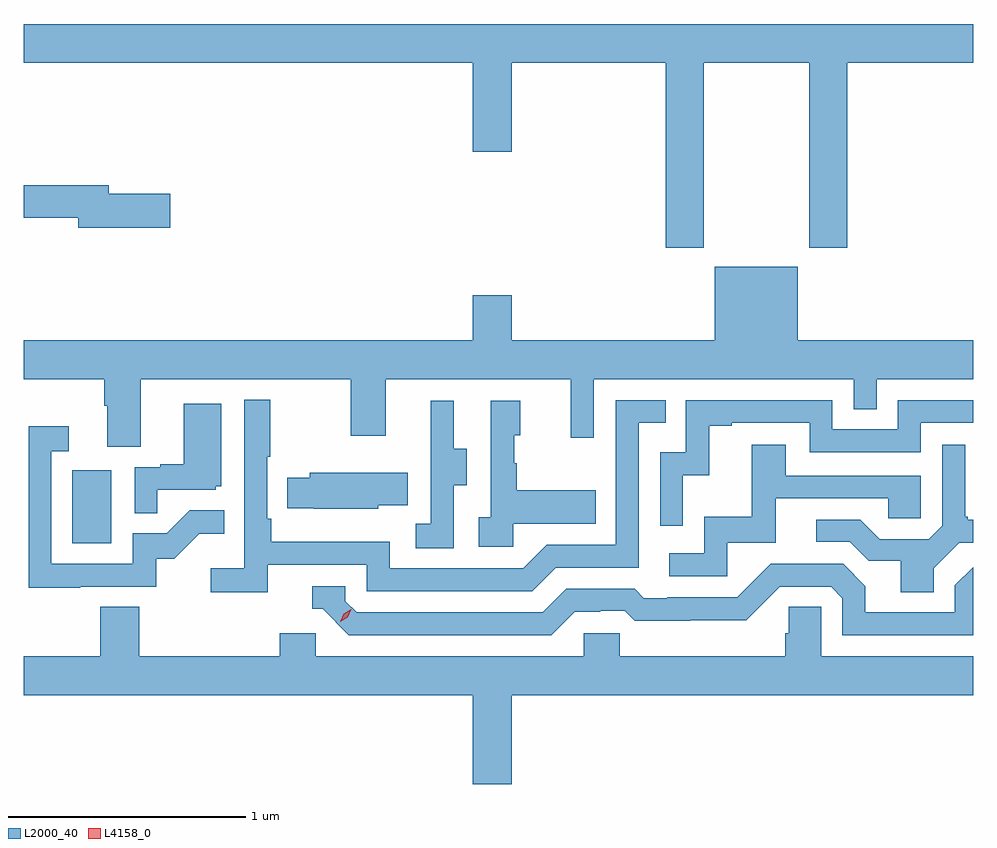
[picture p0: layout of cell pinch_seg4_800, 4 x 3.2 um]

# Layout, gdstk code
import gdstk
lib = gdstk.Library(unit=1e-6, precision=1e-09)
def R(c, l, rs):  # rectangles x0, y0, x1, y1
    for r in rs: c.add(gdstk.rectangle(r[:2], r[2:], *l))
def P(c, l, *ps):  # polygons
    for p in ps: c.add(gdstk.Polygon(p, *l))
L2000_40 = (2000, 40)
L4158_0 = (4158, 0)

pinch_seg4_800 = lib.new_cell('pinch_seg4_800')
R(pinch_seg4_800, L2000_40, [(798.686,808.116,798.85,808.423)])
P(pinch_seg4_800, L2000_40, [(798.481,810.14),(800.372,810.14),(800.372,809.766),(800.536,809.766),(800.536,810.14),(801.185,810.14),(801.185,809.361),(801.345,809.361),(801.345,810.14),(801.79,810.14),(801.79,809.361),(801.95,809.361),(801.95,810.14),(802.481,810.14),(802.481,810.304),(798.481,810.304)],
  [(799.099,809.588),(798.838,809.588),(798.838,809.624),(798.481,809.624),(798.481,809.488),(798.71,809.488),(798.71,809.446),(799.099,809.446)],
  [(798.973,808.808),(799.858,808.808),(799.858,808.569),(800.005,808.569),(800.005,808.808),(800.786,808.808),(800.786,808.56),(800.883,808.56),(800.883,808.808),(801.978,808.808),(801.978,808.681),(802.074,808.681),(802.074,808.808),(802.481,808.808),(802.481,808.972),(801.742,808.972),(801.742,809.281),(801.392,809.281),(801.392,808.972),(800.536,808.972),(800.536,809.161),(800.372,809.161),(800.372,808.972),(798.481,808.972),(798.481,808.808),(798.821,808.808),(798.821,808.696),(798.833,808.696),(798.833,808.522),(798.973,808.522)],
  [(799.508,808.026),(799.926,808.026),(799.926,807.915),(800.623,807.915),(800.722,808.014),(801.072,808.014),(801.072,808.623),(801.185,808.623),(801.185,808.719),(800.976,808.719),(800.976,808.11),(800.685,808.11),(800.586,808.011),(800.022,808.011),(800.022,808.123),(799.523,808.123),(799.523,808.219),(799.506,808.219),(799.506,808.48),(799.519,808.48),(799.519,808.72),(799.41,808.72),(799.41,808.012),(799.269,808.012),(799.269,807.91),(799.508,807.91)],
  [(801.258,808.403),(801.368,808.403),(801.368,808.611),(801.463,808.611),(801.463,808.623),(801.792,808.623),(801.792,808.5),(802.26,808.5),(802.26,808.623),(802.481,808.623),(802.481,808.719),(802.164,808.719),(802.164,808.596),(801.888,808.596),(801.888,808.719),(801.27,808.719),(801.27,808.5),(801.162,808.5),(801.162,808.191),(801.258,808.191)],
  [(800.544,808.199),(800.891,808.199),(800.891,808.339),(800.557,808.339),(800.557,808.454),(800.547,808.454),(800.547,808.572),(800.572,808.572),(800.572,808.717),(800.448,808.717),(800.448,808.226),(800.397,808.226),(800.397,808.101),(800.544,808.101)],
  [(800.292,808.36),(800.347,808.36),(800.347,808.515),(800.293,808.515),(800.293,808.717),(800.195,808.717),(800.195,808.503),(800.196,808.503),(800.196,808.199),(800.133,808.199),(800.133,808.096),(800.292,808.096)],
  [(799.043,808.341),(799.29,808.341),(799.29,808.356),(799.312,808.356),(799.312,808.705),(799.154,808.705),(799.154,808.45),(799.055,808.45),(799.055,808.437),(798.948,808.437),(798.948,808.243),(799.043,808.243)],
  [(798.719,807.933),(799.038,807.933),(799.038,808.05),(799.114,808.05),(799.221,808.157),(799.325,808.157),(799.325,808.256),(799.181,808.256),(799.083,808.158),(798.939,808.158),(798.939,808.029),(798.597,808.029),(798.597,808.503),(798.67,808.503),(798.67,808.609),(798.501,808.609),(798.501,807.928),(798.719,807.928)],
  [(801.444,808.119),(801.649,808.119),(801.649,808.305),(802.123,808.305),(802.123,808.221),(802.26,808.221),(802.26,808.401),(801.691,808.401),(801.691,808.531),(801.547,808.531),(801.547,808.228),(801.348,808.228),(801.348,808.074),(801.201,808.074),(801.201,807.978),(801.444,807.978)],
  [(802.315,808.012),(802.422,808.119),(802.481,808.119),(802.481,808.216),(802.459,808.216),(802.459,808.228),(802.447,808.228),(802.447,808.531),(802.35,808.531),(802.35,808.191),(802.293,808.134),(802.087,808.134),(802.006,808.215),(801.819,808.215),(801.819,808.122),(801.96,808.122),(802.04,808.042),(802.175,808.042),(802.175,807.91),(802.315,807.91)],
  [(799.974,808.277),(800.099,808.277),(800.099,808.414),(799.685,808.414),(799.685,808.392),(799.591,808.392),(799.591,808.263),(799.702,808.263),(799.702,808.262),(799.974,808.262)],
  [(800.803,807.828),(800.91,807.828),(800.91,807.831),(801.013,807.831),(801.055,807.789),(801.288,807.789),(801.288,807.791),(801.524,807.791),(801.666,807.933),(801.882,807.933),(801.93,807.885),(801.93,807.729),(802.481,807.729),(802.481,808.016),(802.404,807.939),(802.404,807.825),(802.027,807.825),(802.027,807.935),(801.933,808.029),(801.627,808.029),(801.486,807.888),(801.193,807.888),(801.193,807.885),(801.094,807.885),(801.055,807.924),(800.766,807.924),(800.667,807.825),(799.884,807.825),(799.836,807.873),(799.836,807.936),(799.697,807.936),(799.697,807.84),(799.74,807.84),(799.851,807.729),(800.704,807.729)],
  [(800.536,807.476),(802.481,807.476),(802.481,807.64),(801.84,807.64),(801.84,807.848),(801.703,807.848),(801.703,807.738),(801.689,807.738),(801.689,807.64),(800.991,807.64),(800.991,807.738),(800.841,807.738),(800.841,807.64),(799.71,807.64),(799.71,807.738),(799.559,807.738),(799.559,807.64),(798.968,807.64),(798.968,807.848),(798.803,807.848),(798.803,807.64),(798.481,807.64),(798.481,807.476),(800.372,807.476),(800.372,807.102),(800.536,807.102)])
P(pinch_seg4_800, L4158_0, [(799.814,807.786),(799.814,807.786),(799.83,807.819),(799.861,807.838),(799.861,807.838),(799.861,807.838),(799.845,807.805),(799.814,807.786)])

lib.write_gds('pinch_seg4_800.gds')
